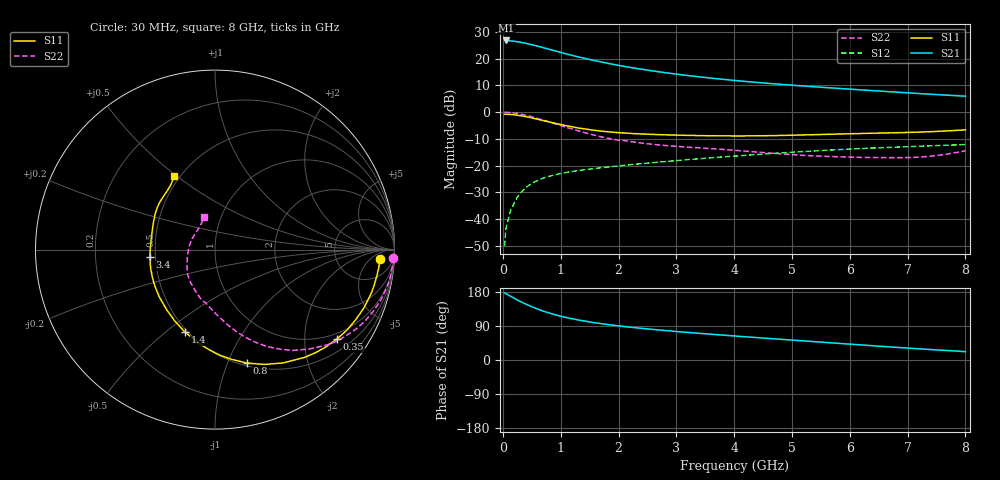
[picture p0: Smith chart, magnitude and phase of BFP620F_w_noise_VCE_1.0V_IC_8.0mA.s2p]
! Infineon Technologies  Discrete & RF Semiconductors
! BFP620F
! VCE =  1.0 V,  IC =  8.0 mA
! Common Emitter S-Parameters:  Dec 2014
# GHz  S  MA  R  50
!  f  S11  S21  S12  S22
! GHz  MAG  ANG  MAG  ANG  MAG  ANG  MAG  ANG
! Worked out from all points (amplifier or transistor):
!   95 points, 30 MHz to 8 GHz, reference 50 ohm
!   highest |S21| = 26.9 dB at 60 MHz (marker M1)
!   |S21| within 3 dB of that: start of sweep to 750.6 MHz
!   unconditionally stable (mu >= 1): 4.379 GHz to end of sweep
!   at 300 MHz: K = 0.13, MSG = 28.3 dB, |S12| = -30.3 dB
!   at 3.3 GHz: K = 0.93, MSG = 15.5 dB, |S12| = -17.6 dB
!   at 8 GHz: K = 1.10, MAG = 7.2 dB, |S12| = -12.1 dB
!   lowest NFmin = 0.56 dB at 450 MHz
!   S11 on the Smith chart (normalised r, x): 30 MHz: 16, -11; 350 MHz: 0.83, -2.83; 800 MHz: 0.53, -1.18; 1.4 GHz: 0.48, -0.59; 3.4 GHz: 0.47, -0.05; 8 GHz: 0.47, +0.49
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0.03  0.918 -3.2  21.97 177.1  0.0031 91.6  0.9938 -2.6
0.06  0.9177 -6.6  22.03 174.7  0.0071 87.3  0.9934 -5.1
0.15  0.9025 -16.1  21.63 166.8  0.0156 83.0  0.9777 -13.0
0.25  0.8759 -26.5  20.9 158.4  0.0257 77.1  0.9461 -21.4
0.35  0.8422 -36.3  19.89 150.9  0.0346 71.4  0.9022 -29.4
0.45  0.803 -45.6  18.88 143.8  0.0428 67.0  0.8512 -36.7
0.6  0.7371 -58.9  17.24 134.4  0.0529 61.5  0.7648 -46.4
0.7  0.6969 -66.7  16.14 128.9  0.0584 58.2  0.7099 -52.3
0.8  0.6569 -74.2  15.08 124.0  0.0632 55.6  0.6574 -57.4
0.9  0.62 -81.1  14.1 119.5  0.0673 53.6  0.6078 -62.2
1.1  0.5576 -93.6  12.33 112.0  0.0745 50.4  0.52 -70.6
1.2  0.5325 -99.3  11.58 108.7  0.0776 49.1  0.484 -74.2
1.4  0.4896 -109.9  10.27 103.1  0.0833 47.3  0.4185 -81.2
1.6  0.4561 -119.5  9.183 98.1  0.0886 46.2  0.368 -87.8
1.9  0.422 -131.8  7.888 92.0  0.0961 45.1  0.3118 -97.5
2.2  0.4011 -142.7  6.904 86.6  0.1038 43.8  0.283 -106.8
2.7  0.3802 -157.3  5.7 79.3  0.1164 42.6  0.2438 -119.3
3.4  0.3644 -173.4  4.588 70.3  0.1344 40.7  0.2147 -133.2
4.1  0.3594 173.3  3.849 62.3  0.1532 38.2  0.19 -144.7
5.4  0.3799 153.4  2.984 48.2  0.1887 32.1  0.1521 -172.8
6.7  0.4101 135.8  2.413 34.5  0.2196 24.3  0.1408 151.7
8  0.4677 119.1  1.995 22.0  0.2475 16.4  0.1889 108.6
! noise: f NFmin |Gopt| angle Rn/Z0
0.45  0.56  0.34  9  0.24
0.9  0.63  0.3  19  0.21
1.5  0.69  0.28  22  0.17
1.8  0.72  0.26  25  0.16
1.9  0.73  0.21  39  0.18
2.4  0.78  0.19  54  0.16
3.5  0.89  0.18  74  0.13
5.5  1.07  0.13  168  0.11
6  1.11  0.1  192  0.19
